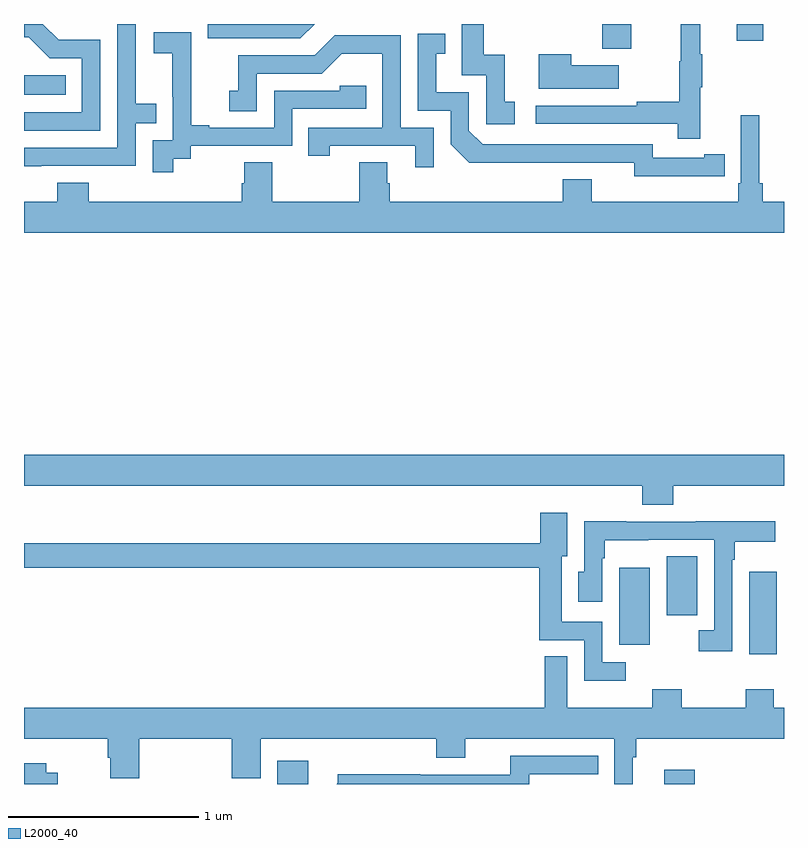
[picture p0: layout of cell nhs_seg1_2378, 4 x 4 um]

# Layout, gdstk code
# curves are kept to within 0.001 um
import gdstk
lib = gdstk.Library(unit=1e-6, precision=1e-09)
def R(c, l, rs):  # rectangles x0, y0, x1, y1
    for r in rs: c.add(gdstk.rectangle(r[:2], r[2:], *l))
def P(c, l, *ps):  # polygons
    for p in ps: c.add(gdstk.Polygon(p, *l))
L2000_40 = (2000, 40)

nhs_seg1_2378 = lib.new_cell('nhs_seg1_2378')
R(nhs_seg1_2378, L2000_40, [(242.334,514.199,242.495,514.321), (244.37,514.199,244.529,514.273), (244.817,514.883,244.963,515.317), (244.133,514.932,244.294,515.338), (244.382,515.088,244.543,515.399), (241,517.826,241.22,517.93), (244.043,518.07,244.195,518.199), (244.751,518.112,244.891,518.199)])
P(nhs_seg1_2378, L2000_40, [(244.559,517.867),(244.57,517.867),(244.57,518.041),(244.559,518.041),(244.559,518.199),(244.456,518.199),(244.456,518.004),(244.449,518.004),(244.449,517.79),(244.225,517.79),(244.225,517.77),(243.693,517.77),(243.693,517.674),(244.441,517.674),(244.441,517.596),(244.559,517.596)],
  [(241.401,518.115),(241.182,518.115),(241.098,518.199),(241,518.199),(241,518.13),(241.025,518.13),(241.136,518.019),(241.305,518.019),(241.305,517.734),(241,517.734),(241,517.638),(241.401,517.638)],
  [(243.583,517.791),(243.53,517.791),(243.53,518.038),(243.419,518.038),(243.419,518.199),(243.303,518.199),(243.303,517.929),(243.432,517.929),(243.432,517.671),(243.583,517.671)],
  [(242.529,518.199),(241.968,518.199),(241.968,518.124),(242.454,518.124)],
  [(241.091,517.452),(241.587,517.452),(241.587,517.677),(241.697,517.677),(241.697,517.778),(241.587,517.778),(241.587,518.199),(241.491,518.199),(241.491,517.548),(241,517.548),(241,517.451),(241.091,517.451)],
  [(241.786,517.489),(241.878,517.489),(241.878,517.557),(242.412,517.557),(242.412,517.752),(242.801,517.752),(242.801,517.875),(242.661,517.875),(242.661,517.848),(242.316,517.848),(242.316,517.653),(241.975,517.653),(241.975,517.666),(241.88,517.666),(241.88,517.949),(241.881,517.949),(241.881,518.155),(241.683,518.155),(241.683,518.045),(241.781,518.045),(241.781,517.817),(241.782,517.817),(241.782,517.587),(241.677,517.587),(241.677,517.419),(241.786,517.419)],
  [(244.58,517.398),(244.688,517.398),(244.688,517.514),(244.58,517.514),(244.58,517.494),(244.308,517.494),(244.308,517.566),(243.414,517.566),(243.342,517.638),(243.342,517.839),(243.169,517.839),(243.169,518.043),(243.218,518.043),(243.218,518.149),(243.072,518.149),(243.072,517.743),(243.246,517.743),(243.246,517.566),(243.344,517.469),(244.212,517.47),(244.212,517.397)],
  [(243.156,517.653),(242.982,517.653),(242.982,518.139),(242.636,518.139),(242.531,518.034),(242.128,518.034),(242.128,517.849),(242.079,517.849),(242.079,517.74),(242.226,517.74),(242.226,517.938),(242.568,517.938),(242.672,518.042),(242.886,518.042),(242.886,517.653),(242.497,517.653),(242.497,517.506),(242.608,517.506),(242.608,517.557),(243.059,517.557),(243.059,517.446),(243.156,517.446)],
  [(244.129,517.981),(243.881,517.981),(243.881,518.041),(243.71,518.041),(243.71,517.859),(244.129,517.859)],
  [(245,517.264),(244.889,517.264),(244.889,517.36),(244.87,517.36),(244.87,517.72),(244.773,517.72),(244.773,517.36),(244.76,517.36),(244.76,517.264),(243.988,517.264),(243.988,517.381),(243.836,517.381),(243.836,517.264),(242.924,517.264),(242.924,517.362),(242.911,517.362),(242.911,517.472),(242.764,517.472),(242.764,517.264),(242.307,517.264),(242.307,517.472),(242.159,517.472),(242.159,517.362),(242.147,517.362),(242.147,517.264),(241.34,517.264),(241.34,517.363),(241.175,517.363),(241.175,517.264),(241,517.264),(241,517.1),(245,517.1)],
  [(244.418,515.768),(245,515.768),(245,515.932),(241,515.932),(241,515.768),(244.253,515.768),(244.253,515.669),(244.418,515.669)],
  [(244.168,514.839),(244.044,514.839),(244.044,515.052),(243.829,515.052),(243.829,515.397),(243.859,515.397),(243.859,515.626),(243.716,515.626),(243.716,515.467),(241,515.467),(241,515.338),(243.711,515.338),(243.711,514.956),(243.948,514.956),(243.948,514.742),(244.168,514.742)],
  [(244.728,515.378),(244.741,515.378),(244.741,515.474),(244.954,515.474),(244.954,515.582),(244.535,515.582),(244.535,515.58),(244.169,515.58),(244.169,515.582),(243.948,515.582),(243.948,515.316),(243.917,515.316),(243.917,515.157),(244.044,515.157),(244.044,515.387),(244.057,515.387),(244.057,515.483),(244.286,515.483),(244.286,515.484),(244.632,515.484),(244.632,515.007),(244.551,515.007),(244.551,514.899),(244.728,514.899)],
  [(244.204,514.34),(244.223,514.34),(244.223,514.436),(245,514.436),(245,514.6),(244.945,514.6),(244.945,514.699),(244.798,514.699),(244.798,514.6),(244.461,514.6),(244.461,514.699),(244.306,514.699),(244.306,514.6),(243.859,514.6),(243.859,514.871),(243.741,514.871),(243.741,514.6),(241,514.6),(241,514.436),(241.442,514.436),(241.442,514.338),(241.454,514.338),(241.454,514.228),(241.607,514.228),(241.607,514.436),(242.093,514.436),(242.093,514.228),(242.245,514.228),(242.245,514.436),(243.17,514.436),(243.17,514.337),(243.322,514.337),(243.322,514.436),(244.107,514.436),(244.107,514.199),(244.204,514.199)],
  [(243.658,514.251),(244.022,514.251),(244.022,514.347),(243.559,514.347),(243.559,514.248),(243.086,514.248),(243.086,514.25),(242.652,514.25),(242.652,514.205),(242.646,514.199),(243.658,514.199)],
  [(241.178,514.257),(241.116,514.257),(241.116,514.309),(241,514.309),(241,514.199),(241.178,514.199)])

lib.write_gds('nhs_seg1_2378.gds')
